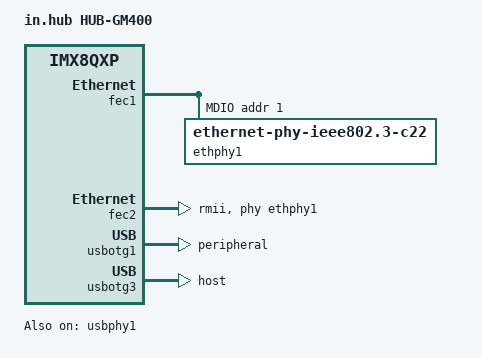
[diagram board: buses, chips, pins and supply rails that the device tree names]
// SPDX-License-Identifier: GPL-2.0-only
/*
 * Copyright 2025 in.hub GmbH
 */

/dts-v1/;

#include "fsl-imx8qxp-colibri.dts"

/ {
	model = "in.hub HUB-GM400";
	compatible = "inhub,hub-gm400", "fsl,imx8qxp";
};

&iomuxc {
	pinctrl-0 = <&pinctrl_hog0>, <&pinctrl_hog1>, <&pinctrl_hog2>, <&pinctrl_leds>;

	/delete-node/ lpuart0grp;

	pinctrl_leds: leds-grp {
		fsl,pins = <
			SC_P_UART2_RX_LSIO_GPIO1_IO24			0x14 /* SODIMM 19 / LED1G */
			SC_P_UART2_TX_LSIO_GPIO1_IO23			0x14 /* SODIMM 21 / LED1R */
			SC_P_MIPI_DSI1_GPIO0_01_LSIO_GPIO2_IO00	0x14 /* SODIMM 23 / LED2G */
			SC_P_SAI1_RXD_LSIO_GPIO0_IO29			0x14 /* SODIMM 25 / LED2R */
			SC_P_SAI1_RXC_LSIO_GPIO0_IO30			0x14 /* SODIMM 27 / LED3G */
			SC_P_CSI_RESET_LSIO_GPIO3_IO03			0x14 /* SODIMM 29 / LED3R */
		>;
	};

	pinctrl_enet2: enet2grp {
		fsl,pins = <
			SC_P_ESAI0_SCKR_CONN_ENET1_RGMII_TX_CTL	0x06000020	/* SODIMM 60 / TXEN */
			SC_P_SPDIF0_TX_CONN_ENET1_RGMII_RX_CTL	0x06000020	/* SODIMM 50 / RXDV */
			SC_P_SPDIF0_RX_CONN_ENET1_RGMII_RXD0		0x06000020	/* SODIMM 74 / RXD0 */
			SC_P_ESAI0_TX3_RX2_CONN_ENET1_RGMII_RXD1	0x06000020	/* SODIMM 46 / RXD1 */
			SC_P_ESAI0_TX4_RX1_CONN_ENET1_RGMII_TXD0	0x06000020	/* SODIMM 62 / TXD0 */
			SC_P_ESAI0_TX5_RX0_CONN_ENET1_RGMII_TXD1	0x06000020	/* SODIMM 48 / TXD1 */
			SC_P_ESAI0_TX2_RX3_CONN_ENET1_RMII_RX_ER	0x06000020	/* SODIMM 80 / RXER */
			SC_P_ESAI0_FSR_CONN_ENET1_RCLK50M_IN 0x0000020	/* SODIMM 76 / CLK */
		>;
	};
};

&fec1 {
	status = "okay";

	mdio {
		ethphy1: ethernet-phy@1 {
			compatible = "ethernet-phy-ieee802.3-c22";
			max-speed = <100>;
			reg = <1>;
		};
	};
};

&fec2 {
	pinctrl-names = "default";
	pinctrl-0 = <&pinctrl_enet2>;
	phy-mode = "rmii";
	phy-handle = <&ethphy1>;
	status = "okay";
};

&usbotg1 {
	dr_mode = "peripheral";
	status = "okay";
};

&usbphy1 {
	status = "okay";
};

&usbotg3 {
	dr_mode = "host";
	over-current-active-low;
	status = "okay";
};
